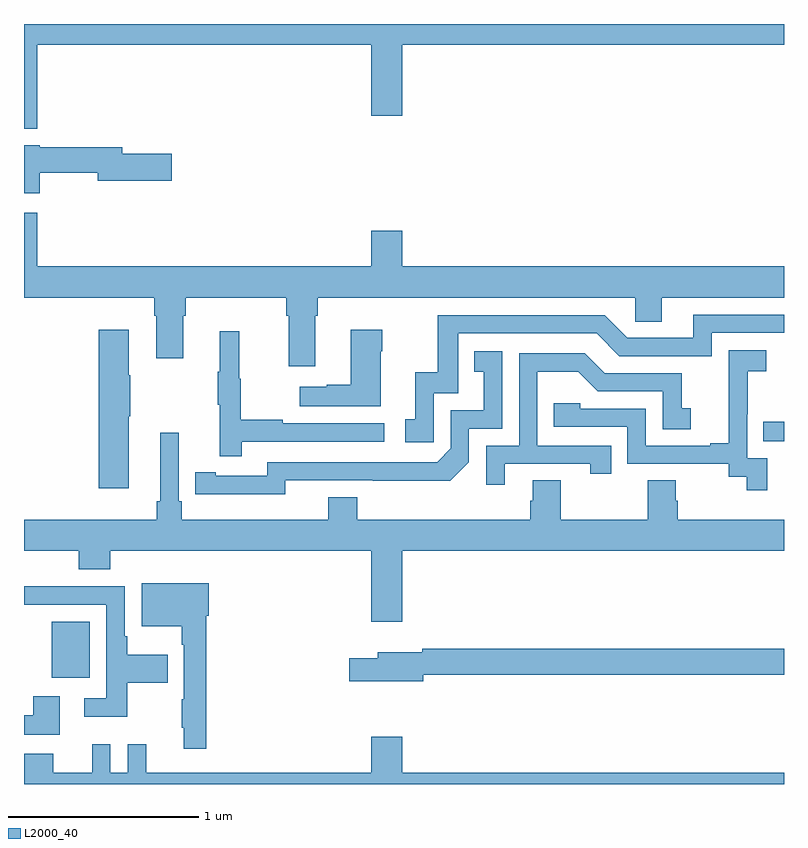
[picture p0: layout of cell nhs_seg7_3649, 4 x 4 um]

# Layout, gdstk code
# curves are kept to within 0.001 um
import gdstk
lib = gdstk.Library(unit=1e-6, precision=1e-09)
def R(c, l, rs):  # rectangles x0, y0, x1, y1
    for r in rs: c.add(gdstk.rectangle(r[:2], r[2:], *l))
def P(c, l, *ps):  # polygons
    for p in ps: c.add(gdstk.Polygon(p, *l))
L2000_40 = (2000, 40)

nhs_seg7_3649 = lib.new_cell('nhs_seg7_3649')
R(nhs_seg7_3649, L2000_40, [(343.145,1054.559,343.345,1054.855), (346.891,1055.805,347,1055.906)])
P(nhs_seg7_3649, L2000_40, [(343.069,1057.892),(344.828,1057.892),(344.828,1057.518),(344.992,1057.518),(344.992,1057.892),(347,1057.892),(347,1058),(343,1058),(343,1057.448),(343.069,1057.448)],
  [(343.084,1057.216),(343.388,1057.216),(343.388,1057.174),(343.777,1057.174),(343.777,1057.316),(343.516,1057.316),(343.516,1057.352),(343.084,1057.352),(343.084,1057.363),(343,1057.363),(343,1057.109),(343.084,1057.109)],
  [(344.533,1056.464),(344.546,1056.464),(344.546,1056.56),(346.218,1056.56),(346.218,1056.433),(346.357,1056.433),(346.357,1056.56),(347,1056.56),(347,1056.724),(344.992,1056.724),(344.992,1056.913),(344.828,1056.913),(344.828,1056.724),(343.069,1056.724),(343.069,1057.006),(343,1057.006),(343,1056.56),(343.685,1056.56),(343.685,1056.464),(343.697,1056.464),(343.697,1056.24),(343.837,1056.24),(343.837,1056.464),(343.85,1056.464),(343.85,1056.56),(344.381,1056.56),(344.381,1056.464),(344.393,1056.464),(344.393,1056.198),(344.533,1056.198)],
  [(345.156,1056.057),(345.285,1056.057),(345.285,1056.372),(346.014,1056.372),(346.134,1056.252),(346.62,1056.252),(346.62,1056.375),(347,1056.375),(347,1056.471),(346.523,1056.471),(346.523,1056.348),(346.176,1056.348),(346.056,1056.468),(345.177,1056.468),(345.177,1056.166),(345.059,1056.166),(345.059,1055.919),(345.006,1055.919),(345.006,1055.799),(345.156,1055.799)],
  [(344.878,1056.278),(344.886,1056.278),(344.886,1056.391),(344.72,1056.391),(344.72,1056.101),(344.594,1056.101),(344.594,1056.091),(344.451,1056.091),(344.451,1055.987),(344.878,1055.987)],
  [(343.552,1055.935),(343.56,1055.935),(343.56,1056.152),(343.552,1056.152),(343.552,1056.391),(343.394,1056.391),(343.394,1055.556),(343.552,1055.556)],
  [(344.147,1055.802),(344.896,1055.802),(344.896,1055.898),(344.363,1055.898),(344.363,1055.918),(344.14,1055.918),(344.14,1056.132),(344.132,1056.132),(344.132,1056.382),(344.03,1056.382),(344.03,1056.169),(344.019,1056.169),(344.019,1055.995),(344.03,1055.995),(344.03,1055.724),(344.147,1055.724)],
  [(346.911,1055.715),(346.806,1055.715),(346.806,1055.945),(346.808,1055.945),(346.808,1056.173),(346.906,1056.173),(346.906,1056.283),(346.708,1056.283),(346.708,1056.077),(346.709,1056.077),(346.709,1055.794),(346.613,1055.794),(346.613,1055.781),(346.272,1055.781),(346.272,1055.976),(345.927,1055.976),(345.927,1056.003),(345.787,1056.003),(345.787,1055.88),(346.176,1055.88),(346.176,1055.685),(346.71,1055.685),(346.71,1055.617),(346.803,1055.617),(346.803,1055.547),(346.911,1055.547)],
  [(344.376,1055.598),(345.244,1055.597),(345.342,1055.694),(345.342,1055.871),(345.516,1055.871),(345.516,1056.277),(345.37,1056.277),(345.37,1056.171),(345.419,1056.171),(345.419,1055.967),(345.246,1055.967),(345.246,1055.766),(345.174,1055.694),(344.28,1055.694),(344.28,1055.622),(344.008,1055.622),(344.008,1055.642),(343.9,1055.642),(343.9,1055.526),(344.376,1055.525)],
  [(345.529,1055.685),(345.98,1055.685),(345.98,1055.634),(346.091,1055.634),(346.091,1055.781),(345.702,1055.781),(345.702,1056.17),(345.916,1056.17),(346.02,1056.066),(346.362,1056.066),(346.362,1055.868),(346.51,1055.868),(346.51,1055.977),(346.461,1055.977),(346.461,1056.162),(346.057,1056.162),(345.952,1056.267),(345.606,1056.267),(345.606,1055.781),(345.432,1055.781),(345.432,1055.574),(345.529,1055.574)],
  [(346.282,1055.6),(346.282,1055.392),(345.825,1055.392),(345.825,1055.6),(345.677,1055.6),(345.677,1055.49),(345.665,1055.49),(345.665,1055.392),(344.753,1055.392),(344.753,1055.509),(344.6,1055.509),(344.6,1055.392),(343.829,1055.392),(343.829,1055.488),(343.815,1055.488),(343.815,1055.848),(343.718,1055.848),(343.718,1055.488),(343.699,1055.488),(343.699,1055.392),(343,1055.392),(343,1055.228),(343.289,1055.228),(343.289,1055.129),(343.454,1055.129),(343.454,1055.228),(344.828,1055.228),(344.828,1054.854),(344.992,1054.854),(344.992,1055.228),(347,1055.228),(347,1055.392),(346.442,1055.392),(346.442,1055.49),(346.429,1055.49),(346.429,1055.6)],
  [(343.958,1054.886),(343.972,1054.886),(343.972,1055.056),(343.619,1055.056),(343.619,1054.829),(343.83,1054.829),(343.83,1054.733),(343.842,1054.733),(343.842,1054.445),(343.83,1054.445),(343.83,1054.297),(343.841,1054.297),(343.841,1054.185),(343.958,1054.185)],
  [(343.543,1054.534),(343.757,1054.534),(343.757,1054.681),(343.543,1054.681),(343.543,1054.777),(343.53,1054.777),(343.53,1055.04),(343.205,1055.04),(343.205,1055.042),(343,1055.042),(343,1054.944),(343.434,1054.944),(343.434,1054.452),(343.317,1054.452),(343.317,1054.355),(343.543,1054.355)],
  [(345.1,1054.576),(347,1054.576),(347,1054.712),(345.096,1054.712),(345.096,1054.693),(344.861,1054.693),(344.861,1054.663),(344.712,1054.663),(344.712,1054.541),(345.1,1054.541)],
  [(343.189,1054.462),(343.049,1054.462),(343.049,1054.363),(343,1054.363),(343,1054.259),(343.189,1054.259)],
  [(347,1054.06),(344.992,1054.06),(344.992,1054.249),(344.828,1054.249),(344.828,1054.06),(343.643,1054.06),(343.643,1054.21),(343.545,1054.21),(343.545,1054.06),(343.455,1054.06),(343.455,1054.21),(343.358,1054.21),(343.358,1054.06),(343.153,1054.06),(343.153,1054.159),(343,1054.159),(343,1054),(347,1054)])

lib.write_gds('nhs_seg7_3649.gds')
